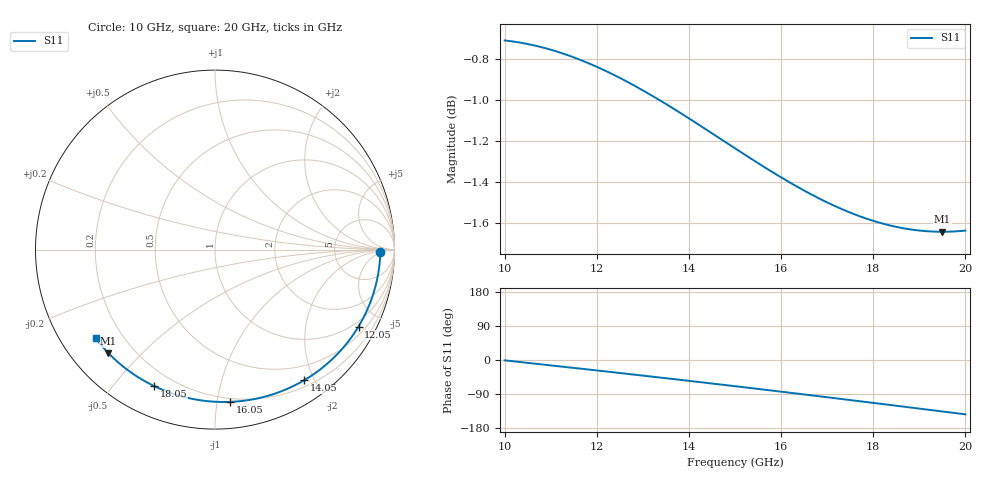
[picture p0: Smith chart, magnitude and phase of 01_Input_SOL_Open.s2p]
! Synthetic calibration acquisition fixture: NOT a frequency-converting S2P model.
! RF=10..20 GHz; LO=5 GHz; IF=RF-LO. 201 points, 50 MHz step.
! Only S11 is meaningful. S21=S12=S22=0 are unused matched/isolated placeholders.
! Use ideal Open(+1), Short(-1), Load(0), zero offsets, Z0=50 ohm.
! Order: frequency_Hz S11_Re S11_Im S21_Re S21_Im S12_Re S12_Im S22_Re S22_Im
# Hz S RI R 50
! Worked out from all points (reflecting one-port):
!   201 points, 10 GHz to 20 GHz, reference 50 ohm
!   lowest |S11| = -1.6 dB at 19.5 GHz (marker M1), VSWR 10.61, Z = 5.48 - j20.1 ohm
!   phase of S11 starts at -1 deg and turns -142 deg over the sweep
!   S11 on the Smith chart (normalised r, x): 10 GHz: 24, -5; 12.05 GHz: 0.79, -3.83; 14.05 GHz: 0.29, -1.86; 16.05 GHz: 0.18, -1.09; 18.05 GHz: 0.13, -0.64; 20 GHz: 0.10, -0.33
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1e10  0.9212 -0.0146  0 0  0 0  0 0
1.04e10  0.9146 -0.0992  0 0  0 0  0 0
1.085e10  0.897 -0.1931  0 0  0 0  0 0
1.125e10  0.8726 -0.2746  0 0  0 0  0 0
1.17e10  0.8354 -0.363  0 0  0 0  0 0
1.205e10  0.7997 -0.4286  0 0  0 0  0 0
1.27e10  0.7186 -0.5415  0 0  0 0  0 0
1.335e10  0.62 -0.6402  0 0  0 0  0 0
1.405e10  0.4973 -0.7276  0 0  0 0  0 0
1.455e10  0.4011 -0.7765  0 0  0 0  0 0
1.5e10  0.3097 -0.8102  0 0  0 0  0 0
1.555e10  0.1935 -0.8374  0 0  0 0  0 0
1.605e10  0.0854 -0.8484  0 0  0 0  0 0
1.635e10  0.0201 -0.8487  0 0  0 0  0 0
1.67e10  -0.0559 -0.8429  0 0  0 0  0 0
1.735e10  -0.1949 -0.8151  0 0  0 0  0 0
1.77e10  -0.2674 -0.7911  0 0  0 0  0 0
1.805e10  -0.3377 -0.761  0 0  0 0  0 0
1.835e10  -0.3957 -0.7305  0 0  0 0  0 0
1.89e10  -0.4958 -0.6639  0 0  0 0  0 0
1.95e10  -0.5937 -0.5769  0 0  0 0  0 0
2e10  -0.6648 -0.4942  0 0  0 0  0 0
